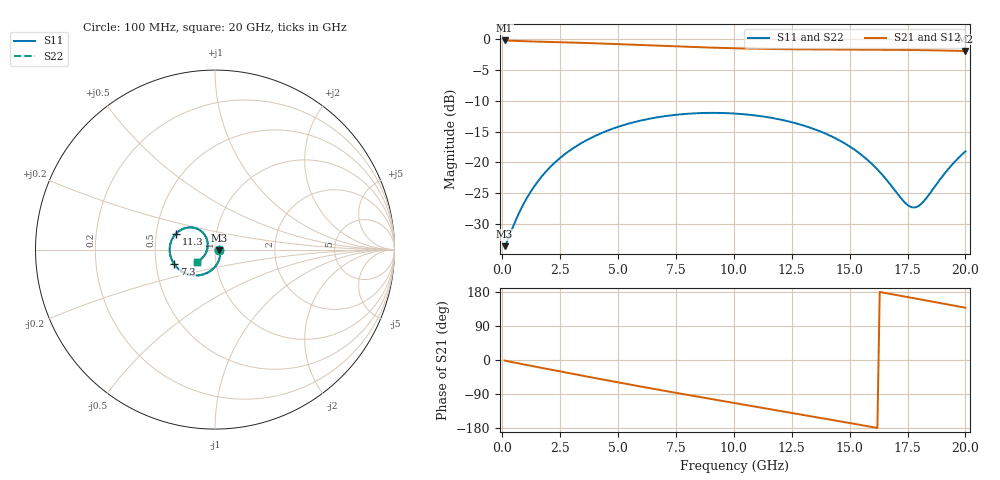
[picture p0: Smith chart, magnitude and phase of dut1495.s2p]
! Touchstone file exported from HFSS 2026.1.0
!  File:  C:/ffzhzh/LocalFiles/Ansys_Project_Files/temp_train_TSV_RDL_1495_1783364943_37376.aedt
!  Generated:  03:15:57 AM Jul  7, 2026
!  Design:  TSV_RDL
!  Project:  temp_train_TSV_RDL_1495_1783364943_37376
! Variables:
!  h_bsmrdl = 3.59um
!  h_ox = 20um
!  h_rdl = 5um
!  h_sub = 79.41um
!  h_tmrdl = 2.66um
!  h_tsv = 79.41um
!  h_via = 3um
!  l_bsmrdl = 690.04um
!  l_sub = 3410.15um
!  l_tmrdl = 208.15um
!  m_sub = 200um
!  pitch = 20.65um
!  r_tsv = 4.98um
!  s_tmrdl = 10um
!  w_bsmrdl = 19.55um
!  w_sub = 500um
!  w_tmrdl = 16.26um
!  x_tsv_center1 = 216.28um
!  x_tsv_center2 = 925.87um
!  x_tsv_center3 = 1150.28um
!  x_tsv_center4 = 1859.87um
!  x_tsv_center5 = 2084.28um
!  x_tsv_center6 = 2793.87um
# GHz S MA R 50.000000
! Terminal data exported
! Port[1] = TM_RDL1_1_T1
! Port[2] = TM_RDL5_1_T1
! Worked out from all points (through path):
!   200 points, 100 MHz to 20 GHz, reference 50 ohm
!   highest |S21| = -0.18 dB at 100 MHz (marker M1); lowest = -1.9 dB at 20 GHz (marker M2)
!   group delay of S21, straight-line fit = 30.3 ps
!   lowest |S11| = -33.6 dB at 100 MHz (marker M3), VSWR 1.04, Z = 52.1 - j0.15 ohm
!   |S11| at or under -10 dB: start of sweep to end of sweep
!   |S22| runs from -33.6 to -12.0 dB; largest |S21 - S12| = 3e-14
!   S11 on the Smith chart (normalised r, x): 100 MHz: 1.04, -0.00; 7.3 GHz: 0.62, -0.11; 11.3 GHz: 0.63, +0.12; 20 GHz: 0.81, -0.12
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0.1  0.02085 -4.0  0.9792 -1.4  0.9792 -1.4  0.02085 -4.0
! Gamma 0 0 0 0
! Port Impedance 50 0 50 0
0.8  0.04158 -47.3  0.9665 -10.2  0.9665 -10.2  0.04158 -47.3
1.5  0.0687 -74.0  0.9585 -18.4  0.9585 -18.4  0.0687 -74.0
2.4  0.1049 -94.5  0.949 -29.0  0.949 -29.0  0.1049 -94.6
3.5  0.1465 -112.8  0.9355 -41.9  0.9355 -41.9  0.1465 -112.8
5.1  0.1972 -134.4  0.9123 -60.2  0.9123 -60.2  0.1972 -134.4
5.9  0.217 -144.2  0.8999 -69.1  0.8999 -69.1  0.217 -144.2
6.8  0.2342 -154.7  0.8862 -79.0  0.8862 -79.0  0.2342 -154.7
7.3  0.2414 -160.3  0.8788 -84.5  0.8788 -84.5  0.2413 -160.4
8.7  0.2521 -175.5  0.8601 -99.5  0.8601 -99.5  0.252 -175.5
10.1  0.249 170.0  0.8454 -114.3  0.8454 -114.3  0.2489 170.0
11.3  0.2355 158.2  0.8363 -126.9  0.8363 -126.9  0.2354 158.2
13.4  0.1885 139.1  0.8276 -149.1  0.8276 -149.1  0.1884 139.0
14.4  0.1565 131.3  0.8257 -159.8  0.8257 -159.8  0.1564 131.3
15.3  0.1234 126.3  0.8246 -169.5  0.8246 -169.5  0.1232 126.2
16  0.09566 125.1  0.8236 -177.2  0.8236 -177.2  0.09545 125.1
16.7  0.06824 129.9  0.8222 175.1  0.8222 175.1  0.068 129.9
17.5  0.0451 154.6  0.8198 166.2  0.8198 166.2  0.04483 154.7
17.9  0.04347 176.7  0.8182 161.7  0.8182 161.7  0.04325 176.9
18.2  0.04829 -168.2  0.8167 158.3  0.8167 158.3  0.04813 -167.8
19.2  0.08557 -146.3  0.8104 147.0  0.8104 147.0  0.08558 -146.1
20  0.1229 -145.2  0.8036 138.0  0.8036 138.0  0.123 -145.1
